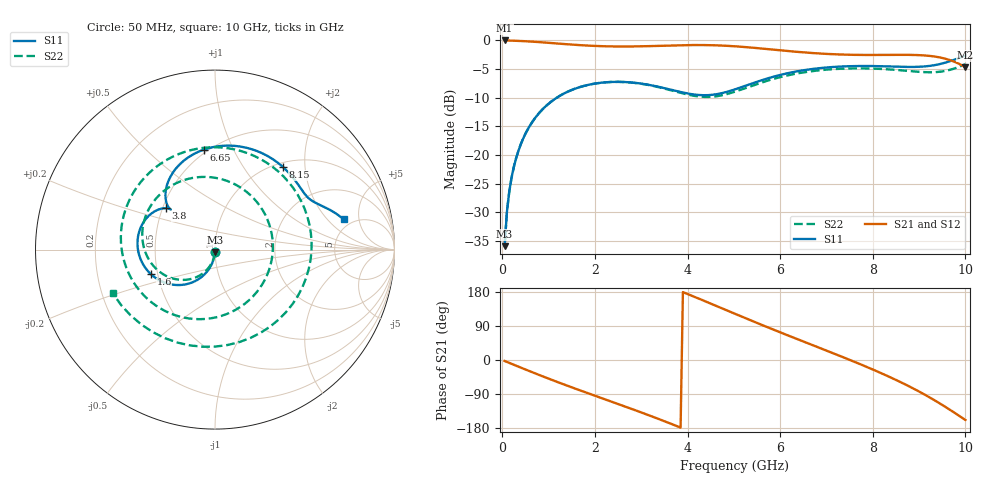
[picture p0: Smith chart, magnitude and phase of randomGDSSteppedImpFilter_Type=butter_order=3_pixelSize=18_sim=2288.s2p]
! freq	dB(S11)	phase(S11)	dB(S12)	phase(S12)
!  dB(S21)	phase(S21)	dB(S22)	phase(S22)
!S-par simulation data
#  GHz  S  DB  R 50
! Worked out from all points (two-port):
!   200 points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, 50 MHz to 10 GHz, reference 50 ohm
!   highest |S21| = 0.00 dB at 50 MHz (marker M1); lowest = -4.7 dB at 10 GHz (marker M2)
!   |S21| within 3 dB of the highest: start of sweep to 9.468 GHz
!   lowest |S11| = -35.9 dB at 50 MHz (marker M3), VSWR 1.03, Z = 49.9 - j1.59 ohm
!   |S11| at or under -10 dB: start of sweep to 1.177 GHz
!   |S22| runs from -35.9 to -4.2 dB; largest |S21 - S12| = 0
!   S11 on the Smith chart (normalised r, x): 50 MHz: 1.00, -0.03; 1.6 GHz: 0.46, -0.15; 3.8 GHz: 0.52, +0.28; 6.65 GHz: 0.48, +0.77; 8.15 GHz: 1.08, +1.54; 10 GHz: 4.23, +3.11
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0.05  -35.94 -92.3  -0.00 -2.6  -0.00 -2.6  -35.94 -92.7
0.1  -29.94 -94.8  -0.01 -5.1  -0.01 -5.1  -29.94 -95.7
0.2  -23.97 -99.6  -0.03 -10.1  -0.03 -10.1  -23.97 -101.4
0.45  -17.16 -111.2  -0.12 -22.6  -0.12 -22.6  -17.16 -115.2
1.05  -10.73 -137.3  -0.45 -51.5  -0.45 -51.5  -10.73 -147.1
1.6  -8.35 -159.1  -0.78 -76.7  -0.78 -76.7  -8.34 -175.5
1.75  -7.97 -164.7  -0.86 -83.3  -0.86 -83.3  -7.97 176.8
2.55  -7.24 168.2  -1.06 -118.3  -1.06 -118.3  -7.25 134.1
3.4  -8.14 145.9  -0.94 -156.7  -0.94 -156.7  -8.21 80.1
3.8  -8.92 139.9  -0.85 -175.9  -0.85 -175.9  -9.05 48.1
4.4  -9.57 137.8  -0.81 154.0  -0.81 154.0  -9.87 -9.9
5.05  -8.48 135.9  -1.04 120.7  -1.04 120.7  -8.88 -75.4
5.75  -6.58 122.9  -1.53 85.3  -1.53 85.3  -6.97 -133.4
6.65  -5.04 96.5  -2.17 41.6  -2.17 41.6  -5.41 165.8
6.7  -4.98 95.0  -2.20 39.2  -2.20 39.2  -5.36 162.6
7.5  -4.50 69.7  -2.50 0.4  -2.50 0.4  -4.89 110.6
8.15  -4.50 50.6  -2.54 -33.0  -2.54 -33.0  -4.96 63.3
8.35  -4.54 45.3  -2.52 -44.0  -2.52 -44.0  -5.06 46.9
8.75  -4.63 36.1  -2.52 -67.4  -2.52 -67.4  -5.32 9.8
9.1  -4.55 29.8  -2.61 -89.9  -2.61 -89.9  -5.53 -29.0
9.6  -3.80 22.0  -3.27 -126.2  -3.27 -126.2  -5.27 -96.9
10  -2.65 13.2  -4.69 -158.3  -4.69 -158.3  -4.15 -157.1
